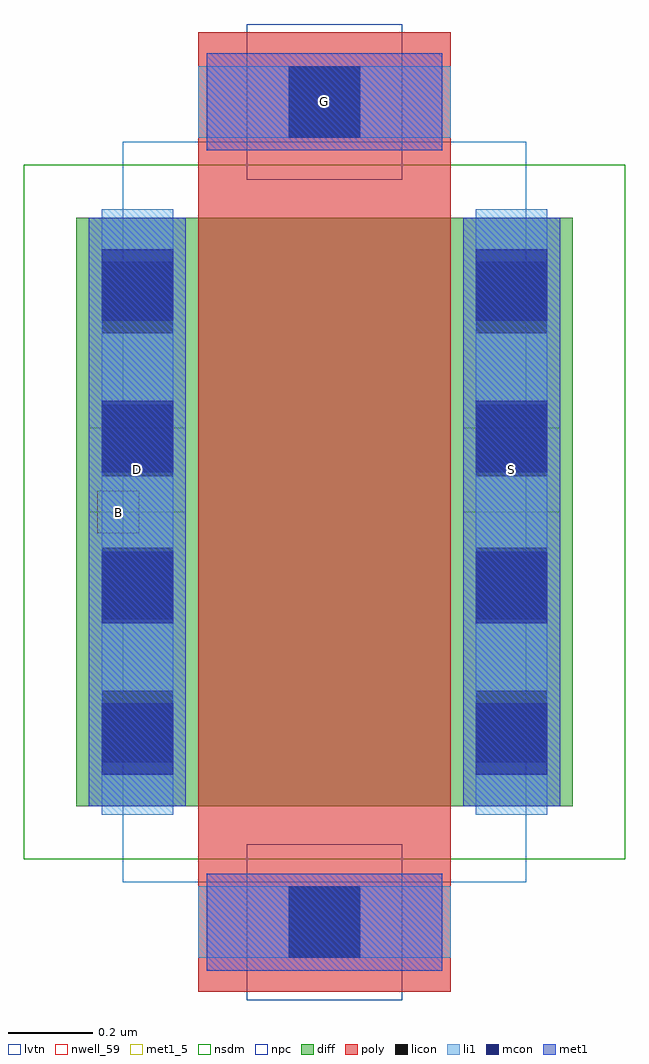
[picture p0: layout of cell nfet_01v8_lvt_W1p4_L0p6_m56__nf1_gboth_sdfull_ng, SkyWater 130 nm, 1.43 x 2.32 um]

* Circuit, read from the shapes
.subckt nfet_01v8_lvt_W1p4_L0p6_m56__nf1_gboth_sdfull_ng B D G S
XM1 S G D B sky130_fd_pr__nfet_01v8_lvt w=1.4 l=0.6
.ends

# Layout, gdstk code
import gdstk
lib = gdstk.Library(unit=1e-6, precision=1e-09)
def R(c, l, rs):  # rectangles x0, y0, x1, y1
    for r in rs: c.add(gdstk.rectangle(r[:2], r[2:], *l))
def A(c, l, x, y, w, h, nx, ny, dx, dy):  # array of equal rectangles
    R(c, l, [(x+i*dx, y+j*dy, x+i*dx+w, y+j*dy+h) for i in range(nx) for j in range(ny)])
nwell_59 = (64, 59)
diff = (65, 20)
poly = (66, 20)
licon = (66, 44)
li1 = (67, 20)
mcon = (67, 44)
met1_5 = (68, 5)
met1 = (68, 20)
nsdm = (93, 44)
npc = (95, 20)
lvtn = (125, 44)

sky130_fd_pr__nfet_01v8_ = lib.new_cell('sky130_fd_pr__nfet_01v8_lvt_KCM6UP')
R(sky130_fd_pr__nfet_01v8_, diff, [(-0.59,-0.7,0.59,0.7)])
R(sky130_fd_pr__nfet_01v8_, poly, [(-0.3,-1.14,0.3,1.14)])
A(sky130_fd_pr__nfet_01v8_, licon, -0.53, -0.595, 0.17, 0.17, 1, 4, 0, 0.34)
A(sky130_fd_pr__nfet_01v8_, licon, 0.36, -0.595, 0.17, 0.17, 1, 4, 0, 0.34)
R(sky130_fd_pr__nfet_01v8_, licon, [(-0.085,-1.06,0.085,-0.89), (-0.085,0.89,0.085,1.06)])
R(sky130_fd_pr__nfet_01v8_, li1, [(-0.3,-1.06,0.3,-0.89), (-0.53,-0.72,-0.36,0.72), (0.36,-0.72,0.53,0.72), (-0.3,0.89,0.3,1.06)])
A(sky130_fd_pr__nfet_01v8_, mcon, -0.53, -0.625, 0.17, 0.17, 1, 4, 0, 0.36)
A(sky130_fd_pr__nfet_01v8_, mcon, 0.36, -0.625, 0.17, 0.17, 1, 4, 0, 0.36)
R(sky130_fd_pr__nfet_01v8_, mcon, [(-0.085,-1.06,0.085,-0.89), (-0.085,0.89,0.085,1.06)])
R(sky130_fd_pr__nfet_01v8_, met1, [(-0.28,-1.09,0.28,-0.86), (-0.56,-0.7,-0.33,0.7), (0.33,-0.7,0.56,0.7), (-0.28,0.86,0.28,1.09)])
R(sky130_fd_pr__nfet_01v8_, nsdm, [(-0.715,-0.825,0.715,0.825)])
R(sky130_fd_pr__nfet_01v8_, npc, [(-0.185,-1.16,0.185,-0.79), (-0.185,0.79,0.185,1.16)])
R(sky130_fd_pr__nfet_01v8_, lvtn, [(-0.48,-0.88,0.48,0.88)])
sky130_fd_pr__nfet_01v8_.add(gdstk.Label('D', (-0.445,0), layer=67, texttype=5))
sky130_fd_pr__nfet_01v8_.add(gdstk.Label('S', (0.445,0), layer=67, texttype=5))
sky130_fd_pr__nfet_01v8_.add(gdstk.Label('G', (0,0.975), layer=67, texttype=5))

nfet_01v8_lvt_w1p4_l0p6_ = lib.new_cell('nfet_01v8_lvt_W1p4_L0p6_m56__nf1_gboth_sdfull_ng')
R(nfet_01v8_lvt_w1p4_l0p6_, nwell_59, [(0.05,1.09,0.15,1.19)])
R(nfet_01v8_lvt_w1p4_l0p6_, met1_5, [(0.03,1.14,0.26,1.34), (0.92,1.14,1.15,1.34), (0.31,2,0.87,2.23)])
R(nfet_01v8_lvt_w1p4_l0p6_, met1, [(0.03,1.14,0.26,1.34), (0.92,1.14,1.15,1.34), (0.31,2,0.87,2.23)])
nfet_01v8_lvt_w1p4_l0p6_.add(gdstk.Reference(sky130_fd_pr__nfet_01v8_, (0.59,1.14)))
nfet_01v8_lvt_w1p4_l0p6_.add(gdstk.Label('D', (0.145,1.24), layer=68, texttype=5))
nfet_01v8_lvt_w1p4_l0p6_.add(gdstk.Label('S', (1.035,1.24), layer=68, texttype=5))
nfet_01v8_lvt_w1p4_l0p6_.add(gdstk.Label('G', (0.59,2.115), layer=68, texttype=5))
nfet_01v8_lvt_w1p4_l0p6_.add(gdstk.Label('B', (0.1,1.14), layer=64, texttype=59))

lib.write_gds('nfet_01v8_lvt_W1p4_L0p6_m56__nf1_gboth_sdfull_ng.gds')
